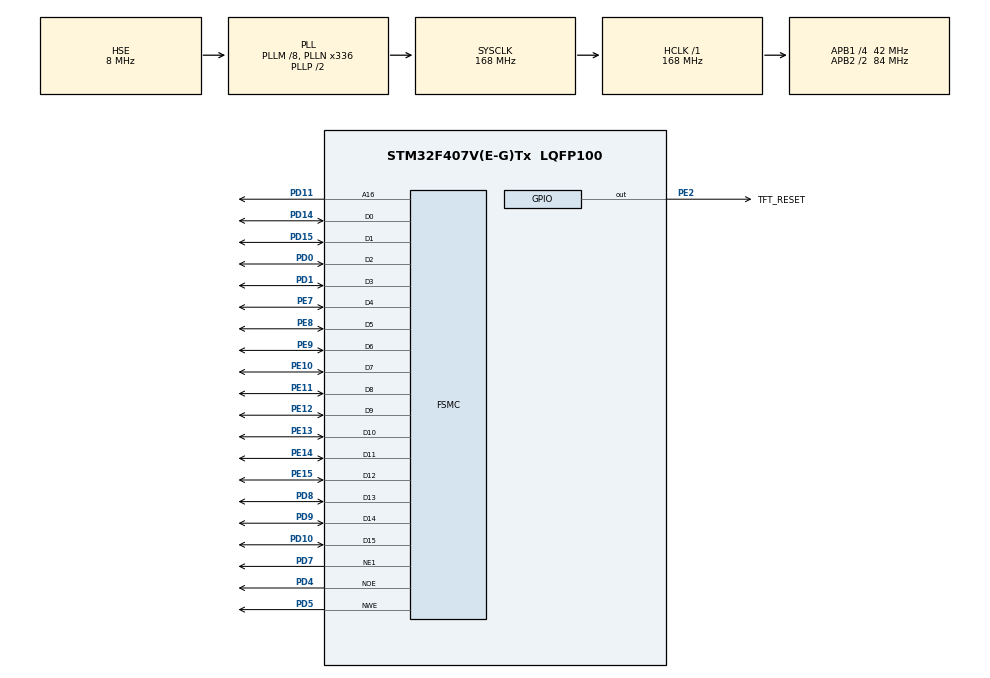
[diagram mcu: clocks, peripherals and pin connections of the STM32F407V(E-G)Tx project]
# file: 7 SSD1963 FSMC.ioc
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FSMC.AddressSetupTime1=1
FSMC.BusTurnAroundDuration1=0
FSMC.DataSetupTime1=5
Mcu.Family=STM32F4
Mcu.Name=STM32F407V(E-G)Tx
Mcu.Package=LQFP100
NVIC.PriorityGroup=NVIC_PRIORITYGROUP_0
PD0.Mode=16b-d1
PD0.Signal=FSMC_D2
PD1.Mode=16b-d1
PD1.Signal=FSMC_D3
PD10.Mode=16b-d1
PD10.Signal=FSMC_D15
PD11.Mode=A16_1
PD11.Signal=FSMC_A16
PD14.Mode=16b-d1
PD14.Signal=FSMC_D0
PD15.Mode=16b-d1
PD15.Signal=FSMC_D1
PD4.Mode=Lcd1
PD4.Signal=FSMC_NOE
PD5.Mode=Lcd1
PD5.Signal=FSMC_NWE
PD7.Mode=NorPsramChipSelect1_1
PD7.Signal=FSMC_NE1
PD8.Mode=16b-d1
PD8.Signal=FSMC_D13
PD9.Mode=16b-d1
PD9.Signal=FSMC_D14
PE10.Mode=16b-d1
PE10.Signal=FSMC_D7
PE11.Mode=16b-d1
PE11.Signal=FSMC_D8
PE12.Mode=16b-d1
PE12.Signal=FSMC_D9
PE13.Mode=16b-d1
PE13.Signal=FSMC_D10
PE14.Mode=16b-d1
PE14.Signal=FSMC_D11
PE15.Mode=16b-d1
PE15.Signal=FSMC_D12
PE2.GPIO_Label=TFT_RESET
PE2.GPIO_Speed=GPIO_SPEED_FREQ_VERY_HIGH
PE2.Signal=GPIO_Output
PE7.Mode=16b-d1
PE7.Signal=FSMC_D4
PE8.Mode=16b-d1
PE8.Signal=FSMC_D5
PE9.Mode=16b-d1
PE9.Signal=FSMC_D6
PH0-OSC_IN.Mode=HSE-External-Oscillator
PH0-OSC_IN.Signal=RCC_OSC_IN
PH1-OSC_OUT.Mode=HSE-External-Oscillator
PH1-OSC_OUT.Signal=RCC_OSC_OUT
ProjectManager.HeapSize=0x200
ProjectManager.StackSize=0x400
ProjectManager.TargetToolchain=EWARM V8
RCC.48MHZClocksFreq_Value=48000000
RCC.AHBFreq_Value=168000000
RCC.APB1CLKDivider=RCC_HCLK_DIV4
RCC.APB1Freq_Value=42000000
RCC.APB1TimFreq_Value=84000000
RCC.APB2CLKDivider=RCC_HCLK_DIV2
RCC.APB2Freq_Value=84000000
RCC.APB2TimFreq_Value=168000000
RCC.CortexFreq_Value=168000000
RCC.HCLKFreq_Value=168000000
RCC.HSE_VALUE=8000000
RCC.HSI_VALUE=16000000
RCC.LSE_VALUE=32768
RCC.PLLM=8
RCC.PLLN=336
RCC.PLLQ=7
RCC.PLLSourceVirtual=RCC_PLLSOURCE_HSE
RCC.SYSCLKFreq_VALUE=168000000
RCC.SYSCLKSource=RCC_SYSCLKSOURCE_PLLCLK
RCC.VCOOutputFreq_Value=336000000
board=STM32F407G-DISC1

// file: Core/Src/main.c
/* USER CODE BEGIN Header */
/**
  ******************************************************************************
  * @file           : main.c
  * @brief          : Main program body
  ******************************************************************************
  * @attention
  *
  * Copyright (c) 2023 STMicroelectronics.
  * All rights reserved.
  *
  * This software is licensed under terms that can be found in the LICENSE file
  * in the root directory of this software component.
  * If no LICENSE file comes with this software, it is provided AS-IS.
  *
  ******************************************************************************
  */
/* USER CODE END Header */
#include "main.h"

/* USER CODE BEGIN Includes */
#include "display_ssd1963.h"
#include "math.h"

#include "008_Open_Sans_Bold.h"
#include "009_Open_Sans_Bold.h"
#include "010_Open_Sans_Bold.h"
#include "012_Open_Sans_Bold.h"
#include "014_Open_Sans_Bold.h"
#include "016_Open_Sans_Bold.h"
#include "018_Open_Sans_Bold.h"
#include "020_Open_Sans_Bold.h"
#include "022_Open_Sans_Bold.h"
#include "024_Open_Sans_Bold.h"
#include "026_Open_Sans_Bold.h"
#include "028_Open_Sans_Bold.h"
#include "036_Open_Sans_Bold.h"
#include "048_Open_Sans_Bold.h"
#include "072_Open_Sans_Bold.h"
#include "096_Open_Sans_Bold.h"
#include "112_Open_Sans_Bold.h"
#include "128_Open_Sans_Bold.h"

#define _Open_Sans_Bold_8      &Open_Sans_Bold_8
#define _Open_Sans_Bold_9      &Open_Sans_Bold_9
#define _Open_Sans_Bold_10     &Open_Sans_Bold_10
#define _Open_Sans_Bold_11     &Open_Sans_Bold_11
#define _Open_Sans_Bold_12      &Open_Sans_Bold_12
#define _Open_Sans_Bold_14      &Open_Sans_Bold_14
#define _Open_Sans_Bold_16      &Open_Sans_Bold_16
#define _Open_Sans_Bold_18      &Open_Sans_Bold_18
#define _Open_Sans_Bold_20      &Open_Sans_Bold_20
#define _Open_Sans_Bold_22      &Open_Sans_Bold_22
#define _Open_Sans_Bold_24      &Open_Sans_Bold_24
#define _Open_Sans_Bold_26      &Open_Sans_Bold_26
#define _Open_Sans_Bold_28      &Open_Sans_Bold_28
#define _Open_Sans_Bold_36      &Open_Sans_Bold_36
#define _Open_Sans_Bold_48      &Open_Sans_Bold_48
#define _Open_Sans_Bold_72      &Open_Sans_Bold_72
#define _Open_Sans_Bold_96      &Open_Sans_Bold_96
#define _Open_Sans_Bold_112      &Open_Sans_Bold_112
#define _Open_Sans_Bold_128      &Open_Sans_Bold_128
/* USER CODE END Includes */

SRAM_HandleTypeDef hsram1;

void SystemClock_Config(void);
static void MX_GPIO_Init(void);
static void MX_FSMC_Init(void);

int main(void)
{

  /* MCU Configuration--------------------------------------------------------*/

  /* Reset of all peripherals, Initializes the Flash interface and the Systick. */
  HAL_Init();

  /* Configure the system clock */
  SystemClock_Config();

  /* Initialize all configured peripherals */
  MX_GPIO_Init();
  MX_FSMC_Init();
  /* USER CODE BEGIN 2 */
  Init_SSD1963();
  LCD_Font(0, 200, "12:55:55", _Open_Sans_Bold_112, 1, BLUE);

  /* USER CODE END 2 */

  /* Infinite loop */
  while (1)
  {

	  TFT_Clear_Screen(YELLOW);
	  TFT_Clear_Screen(RED);
	  TFT_Clear_Screen(GREEN);
	  TFT_Clear_Screen(BLUE);
	  TFT_Clear_Screen(WHITE);

	  TFT_Clear_Screen(YELLOW);LCD_Font(0, 200, "12:55:55", _Open_Sans_Bold_128, 1, BLACK);HAL_Delay(1000);
	  TFT_Clear_Screen(RED);LCD_Font(0, 200, "12:55:55", _Open_Sans_Bold_128, 1, WHITE);HAL_Delay(1000);
	  TFT_Clear_Screen(GREEN);LCD_Font(0, 200, "12:55:55", _Open_Sans_Bold_128, 1, WHITE);HAL_Delay(1000);
	  TFT_Clear_Screen(BLUE);LCD_Font(0, 200, "12:55:55", _Open_Sans_Bold_128, 1, WHITE);HAL_Delay(1000);
	  TFT_Clear_Screen(WHITE);LCD_Font(0, 200, "12:55:55", _Open_Sans_Bold_128, 1, BLACK);HAL_Delay(1000);

	  int buf[798];
	  int x, x2;
	  int y, y2;
	  int r;
	  uint16_t ismail;

	// Clear the screen and draw the frame

	  TFT_Clear_Screen(RGB(255, 0, 0));
	  TFT_Draw_Fill_Rectangle(0, 0, 799, 13,RGB(255, 0, 0));

	  TFT_Draw_Fill_Rectangle(0, 466, 799, 479,RGB(66, 66, 66));

	  TFT_Draw_Rectangle(0, 14, 799, 465,1,RGB(0, 0, 255));

  }
}

void SystemClock_Config(void)
{
  RCC_OscInitTypeDef RCC_OscInitStruct = {0};
  RCC_ClkInitTypeDef RCC_ClkInitStruct = {0};

  /** Configure the main internal regulator output voltage
  */
  __HAL_RCC_PWR_CLK_ENABLE();
  __HAL_PWR_VOLTAGESCALING_CONFIG(PWR_REGULATOR_VOLTAGE_SCALE1);

  /** Initializes the RCC Oscillators according to the specified parameters
  * in the RCC_OscInitTypeDef structure.
  */
  RCC_OscInitStruct.OscillatorType = RCC_OSCILLATORTYPE_HSE;
  RCC_OscInitStruct.HSEState = RCC_HSE_ON;
  RCC_OscInitStruct.PLL.PLLState = RCC_PLL_ON;
  RCC_OscInitStruct.PLL.PLLSource = RCC_PLLSOURCE_HSE;
  RCC_OscInitStruct.PLL.PLLM = 8;
  RCC_OscInitStruct.PLL.PLLN = 336;
  RCC_OscInitStruct.PLL.PLLP = RCC_PLLP_DIV2;
  RCC_OscInitStruct.PLL.PLLQ = 7;
  if (HAL_RCC_OscConfig(&RCC_OscInitStruct) != HAL_OK)
  {
    Error_Handler();
  }

  /** Initializes the CPU, AHB and APB buses clocks
  */
  RCC_ClkInitStruct.ClockType = RCC_CLOCKTYPE_HCLK|RCC_CLOCKTYPE_SYSCLK
                              |RCC_CLOCKTYPE_PCLK1|RCC_CLOCKTYPE_PCLK2;
  RCC_ClkInitStruct.SYSCLKSource = RCC_SYSCLKSOURCE_PLLCLK;
  RCC_ClkInitStruct.AHBCLKDivider = RCC_SYSCLK_DIV1;
  RCC_ClkInitStruct.APB1CLKDivider = RCC_HCLK_DIV4;
  RCC_ClkInitStruct.APB2CLKDivider = RCC_HCLK_DIV2;

  if (HAL_RCC_ClockConfig(&RCC_ClkInitStruct, FLASH_LATENCY_5) != HAL_OK)
  {
    Error_Handler();
  }
}

static void MX_GPIO_Init(void)
{
  GPIO_InitTypeDef GPIO_InitStruct = {0};

  /* GPIO Ports Clock Enable */
  __HAL_RCC_GPIOE_CLK_ENABLE();
  __HAL_RCC_GPIOH_CLK_ENABLE();
  __HAL_RCC_GPIOD_CLK_ENABLE();

  /*Configure GPIO pin Output Level */
  HAL_GPIO_WritePin(TFT_RESET_GPIO_Port, TFT_RESET_Pin, GPIO_PIN_RESET);

  /*Configure GPIO pin : TFT_RESET_Pin */
  GPIO_InitStruct.Pin = TFT_RESET_Pin;
  GPIO_InitStruct.Mode = GPIO_MODE_OUTPUT_PP;
  GPIO_InitStruct.Pull = GPIO_NOPULL;
  GPIO_InitStruct.Speed = GPIO_SPEED_FREQ_VERY_HIGH;
  HAL_GPIO_Init(TFT_RESET_GPIO_Port, &GPIO_InitStruct);

}

/* FSMC initialization function */
static void MX_FSMC_Init(void)
{

  FSMC_NORSRAM_TimingTypeDef Timing = {0};

  /** Perform the SRAM1 memory initialization sequence
  */
  hsram1.Instance = FSMC_NORSRAM_DEVICE;
  hsram1.Extended = FSMC_NORSRAM_EXTENDED_DEVICE;
  /* hsram1.Init */
  hsram1.Init.NSBank = FSMC_NORSRAM_BANK1;
  hsram1.Init.DataAddressMux = FSMC_DATA_ADDRESS_MUX_DISABLE;
  hsram1.Init.MemoryType = FSMC_MEMORY_TYPE_SRAM;
  hsram1.Init.MemoryDataWidth = FSMC_NORSRAM_MEM_BUS_WIDTH_16;
  hsram1.Init.BurstAccessMode = FSMC_BURST_ACCESS_MODE_DISABLE;
  hsram1.Init.WaitSignalPolarity = FSMC_WAIT_SIGNAL_POLARITY_LOW;
  hsram1.Init.WrapMode = FSMC_WRAP_MODE_DISABLE;
  hsram1.Init.WaitSignalActive = FSMC_WAIT_TIMING_BEFORE_WS;
  hsram1.Init.WriteOperation = FSMC_WRITE_OPERATION_ENABLE;
  hsram1.Init.WaitSignal = FSMC_WAIT_SIGNAL_DISABLE;
  hsram1.Init.ExtendedMode = FSMC_EXTENDED_MODE_DISABLE;
  hsram1.Init.AsynchronousWait = FSMC_ASYNCHRONOUS_WAIT_DISABLE;
  hsram1.Init.WriteBurst = FSMC_WRITE_BURST_DISABLE;
  hsram1.Init.PageSize = FSMC_PAGE_SIZE_NONE;
  /* Timing */
  Timing.AddressSetupTime = 1;
  Timing.AddressHoldTime = 1;
  Timing.DataSetupTime = 1;
  Timing.BusTurnAroundDuration = 1;
  Timing.CLKDivision = 1;
  Timing.DataLatency = 0;
  Timing.AccessMode = FSMC_ACCESS_MODE_B;
  /* ExtTiming */

  if (HAL_SRAM_Init(&hsram1, &Timing, NULL) != HAL_OK)
  {
    Error_Handler( );
  }

}

void Error_Handler(void)
{
  __disable_irq();
  while (1)
  {
  }
}
